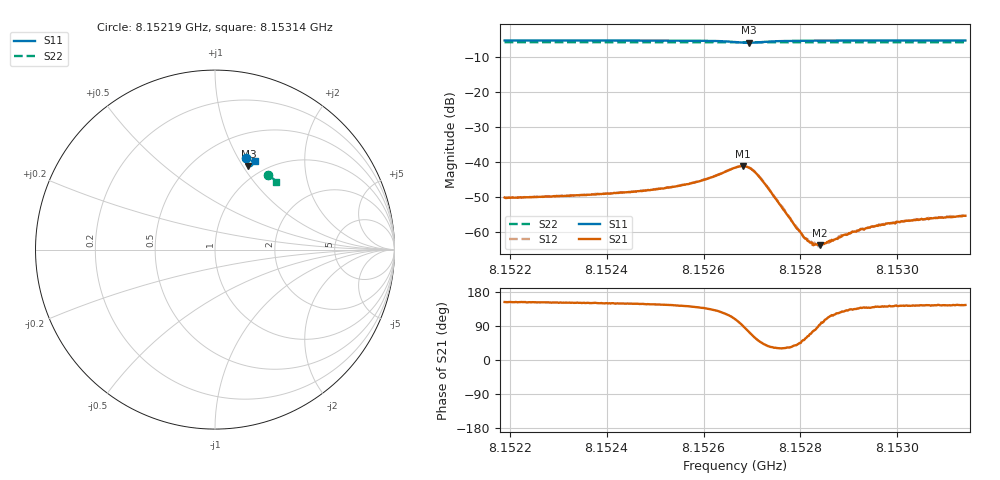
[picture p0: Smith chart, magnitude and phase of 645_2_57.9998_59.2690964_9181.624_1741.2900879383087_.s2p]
#  HZ  S  RI  R  50.00
! Rohde & Schwarz Vector Network Analyzer
! Rohde-Schwarz,ZNB20-2Port,1311601062101988,3.16
! Created: UTC 3/21/2024, 1:19:12 AM
! freq[Hz]  re:S11  im:S11  re:S21  im:S21  re:S12  im:S12  re:S22  im:S22
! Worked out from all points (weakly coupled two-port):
!   401 points, 8.15219 GHz to 8.15314 GHz, reference 50 ohm
!   highest |S21| = -41.19 dB at 8.152682 GHz (marker M1); lowest = -63.8 dB at 8.152841 GHz (marker M2)
!   lowest |S11| = -6.0 dB at 8.152693 GHz (marker M3), VSWR 3.01, Z = 42.6 + j52.9 ohm
!   |S11| at or under -10 dB: nowhere
!   |S22| runs from -5.9 to -5.8 dB; largest |S21 - S12| = 0.00015
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8.1521896e9  0.17 0.513  -0.00277 0.0014  -0.00273 0.00144  0.2961 0.4173
8.1523489e9  0.182 0.509  -0.00292 0.00167  -0.00291 0.00168  0.3044 0.4112
8.1524487e9  0.19 0.5057  -0.00316 0.00192  -0.00317 0.00198  0.3095 0.4073
8.1525081e9  0.1955 0.5031  -0.00345 0.00229  -0.00343 0.00238  0.3125 0.4047
8.1525913e9  0.2049 0.4959  -0.00397 0.0035  -0.00396 0.00358  0.3167 0.4011
8.1526222e9  0.2089 0.4897  -0.00417 0.00464  -0.00409 0.00476  0.3182 0.3998
8.152665e9  0.2072 0.4715  -0.00254 0.00788  -0.0025 0.00799  0.3199 0.3975
8.1526816e9  0.1964 0.4644  5.29e-05 0.00872  9.16e-05 0.00878  0.3202 0.3969
8.1526935e9  0.1857 0.4654  0.00222 0.008  0.00231 0.00809  0.3202 0.3965
8.1527078e9  0.1767 0.4741  0.00382 0.00583  0.00393 0.00591  0.3208 0.3964
8.152722e9  0.1753 0.4842  0.00388 0.0037  0.00395 0.0037  0.3215 0.3961
8.1527886e9  0.1909 0.4999  0.000965 0.000769  0.00102 0.000776  0.3255 0.3939
8.1528052e9  0.1938 0.5003  0.000533 0.000691  0.000575 0.000669  0.3264 0.3932
8.1528242e9  0.1968 0.5003  0.000197 0.000679  0.000192 0.000624  0.3275 0.3924
8.1528361e9  0.1985 0.5003  2.87e-05 0.00065  4.11e-05 0.000626  0.3279 0.3918
8.1528409e9  0.1992 0.5002  -4.48e-05 0.000641  -8.68e-06 0.00064  0.3282 0.3917
8.1528836e9  0.2041 0.4995  -0.000508 0.000688  -0.000534 0.000733  0.3302 0.3899
8.1529122e9  0.2071 0.4989  -0.000714 0.000725  -0.000711 0.000748  0.3317 0.3887
8.1529573e9  0.2111 0.4977  -0.000959 0.000793  -0.000963 0.000812  0.3338 0.3867
8.1529835e9  0.2134 0.4969  -0.00106 0.000794  -0.00105 0.000814  0.3351 0.3856
8.1530429e9  0.2182 0.4953  -0.0012 0.000877  -0.00122 0.000919  0.3379 0.383
8.1531403e9  0.2252 0.4926  -0.0014 0.000973  -0.00136 0.00101  0.3425 0.3788
